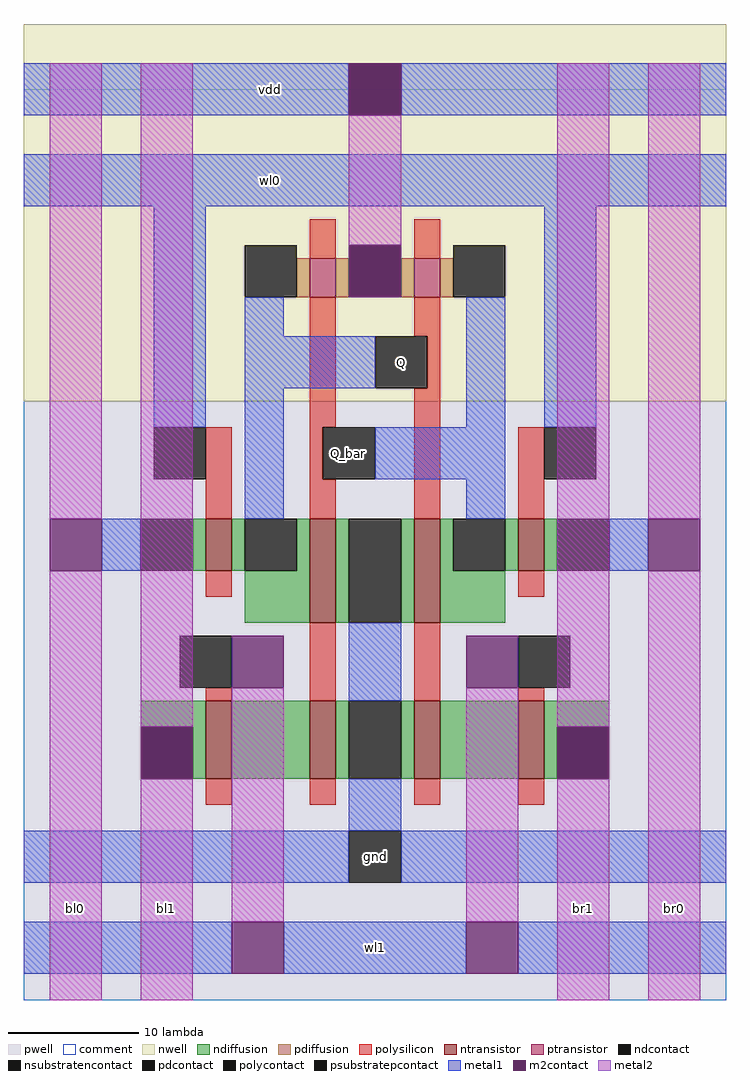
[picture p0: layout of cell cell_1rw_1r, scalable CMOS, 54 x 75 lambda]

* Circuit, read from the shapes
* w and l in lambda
.subckt cell_1rw_1r Q Q_bar bl0 bl1 br0 br1 gnd vdd wl0 wl1
M1 n1 wl1 bl1 gnd nfet w=6 l=2
M2 Q wl0 bl0 gnd nfet w=4 l=2
M3 gnd Q_bar n1 gnd nfet w=6 l=2
M4 gnd Q_bar Q gnd nfet w=8 l=2
M5 n2 Q gnd gnd nfet w=6 l=2
M6 Q_bar Q gnd gnd nfet w=8 l=2
M7 br1 wl1 n2 gnd nfet w=6 l=2
M8 br0 wl0 Q_bar gnd nfet w=4 l=2
M9 vdd Q_bar Q vdd pfet w=3 l=2
M10 Q_bar Q vdd vdd pfet w=3 l=2
.ends

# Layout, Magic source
magic
tech scmos
<< nwell >>
rect 0 46 54 75
<< pwell >>
rect 0 0 54 46
<< ntransistor >>
rect 14 33 16 37
rect 22 29 24 37
rect 30 29 32 37
rect 38 33 40 37
rect 14 17 16 23
rect 22 17 24 23
rect 30 17 32 23
rect 38 17 40 23
<< ptransistor >>
rect 22 54 24 57
rect 30 54 32 57
<< ndiffusion >>
rect 13 33 14 37
rect 16 33 17 37
rect 21 33 22 37
rect 17 29 22 33
rect 24 29 25 37
rect 29 29 30 37
rect 32 33 33 37
rect 37 33 38 37
rect 40 33 41 37
rect 32 29 37 33
rect 9 21 14 23
rect 13 17 14 21
rect 16 17 22 23
rect 24 17 25 23
rect 29 17 30 23
rect 32 17 38 23
rect 40 21 45 23
rect 40 17 41 21
<< pdiffusion >>
rect 21 54 22 57
rect 24 54 25 57
rect 29 54 30 57
rect 32 54 33 57
<< ndcontact >>
rect 9 33 13 37
rect 17 33 21 37
rect 25 29 29 37
rect 33 33 37 37
rect 41 33 45 37
rect 9 17 13 21
rect 25 17 29 23
rect 41 17 45 21
<< pdcontact >>
rect 17 54 21 58
rect 25 54 29 58
rect 33 54 37 58
<< psubstratepcontact >>
rect 25 9 29 13
<< nsubstratencontact >>
rect 25 68 29 72
<< polysilicon >>
rect 22 57 24 60
rect 30 57 32 60
rect 22 44 24 54
rect 30 51 32 54
rect 31 47 32 51
rect 14 37 16 44
rect 22 40 23 44
rect 22 37 24 40
rect 30 37 32 47
rect 38 37 40 44
rect 14 31 16 33
rect 38 31 40 33
rect 14 23 16 24
rect 22 23 24 29
rect 30 23 32 29
rect 38 23 40 24
rect 14 15 16 17
rect 22 15 24 17
rect 30 15 32 17
rect 38 15 40 17
<< polycontact >>
rect 27 47 31 51
rect 10 40 14 44
rect 23 40 27 44
rect 40 40 44 44
rect 12 24 16 28
rect 38 24 42 28
<< metal1 >>
rect 0 68 25 72
rect 29 68 54 72
rect 0 61 54 65
rect 10 44 14 61
rect 17 51 20 54
rect 17 47 27 51
rect 17 37 20 47
rect 34 44 37 54
rect 27 40 37 44
rect 40 44 44 61
rect 34 37 37 40
rect 6 33 9 37
rect 45 33 48 37
rect 25 23 29 29
rect 25 13 29 17
rect 0 9 25 13
rect 29 9 54 13
rect 0 2 16 6
rect 20 2 34 6
rect 38 2 54 6
<< m2contact >>
rect 25 68 29 72
rect 25 54 29 58
rect 2 33 6 37
rect 48 33 52 37
rect 16 24 20 28
rect 34 24 38 28
rect 9 17 13 21
rect 41 17 45 21
rect 16 2 20 6
rect 34 2 38 6
<< metal2 >>
rect 2 37 6 72
rect 2 0 6 33
rect 9 21 13 72
rect 25 58 29 68
rect 9 0 13 17
rect 16 6 20 24
rect 34 6 38 24
rect 41 21 45 72
rect 41 0 45 17
rect 48 37 52 72
rect 48 0 52 33
<< comment >>
rect 0 0 54 70
<< labels >>
rlabel metal1 19 63 19 63 1 wl0
rlabel metal1 19 70 19 70 5 vdd
rlabel metal1 27 4 27 4 1 wl1
rlabel psubstratepcontact 27 11 27 11 1 gnd
rlabel metal2 4 7 4 7 2 bl0
rlabel metal2 11 7 11 7 1 bl1
rlabel metal2 43 7 43 7 1 br1
rlabel metal2 50 7 50 7 8 br0
rlabel polycontact 29 49 29 49 1 Q
rlabel polycontact 25 42 25 42 1 Q_bar
<< end >>
